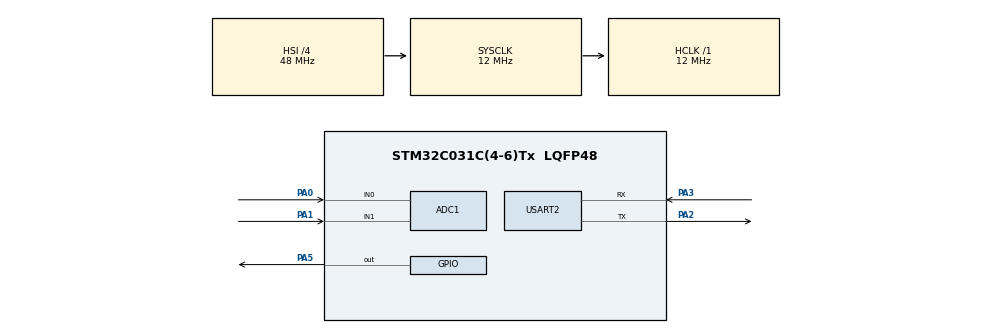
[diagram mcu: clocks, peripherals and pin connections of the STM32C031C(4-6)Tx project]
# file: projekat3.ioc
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ADC1.NbrOfConversionFlag=0
ADC1.SelectedChannel=ADC_CHANNEL_0|ADC_CHANNEL_1
ADC1.master=1
Mcu.Family=STM32C0
Mcu.Name=STM32C031C(4-6)Tx
Mcu.Package=LQFP48
PA0.Mode=IN0
PA0.Signal=ADC1_IN0
PA1.Mode=IN1
PA1.Signal=ADC1_IN1
PA13.Mode=Serial_Wire
PA13.Signal=DEBUG_SWDIO
PA14-BOOT0.Mode=Serial_Wire
PA14-BOOT0.Signal=DEBUG_SWCLK
PA2.Mode=Asynchronous
PA2.Signal=USART2_TX
PA3.Mode=Asynchronous
PA3.Signal=USART2_RX
PA5.Signal=GPIO_Output
ProjectManager.HeapSize=0x200
ProjectManager.StackSize=0x400
ProjectManager.TargetToolchain=STM32CubeIDE
RCC.ADCFreq_Value=12000000
RCC.AHBFreq_Value=12000000
RCC.CortexFreq_Value=12000000
RCC.EXTERNAL_CLOCK_VALUE=12288000
RCC.HCLKFreq_Value=12000000
RCC.HSE_VALUE=8000000
RCC.HSI_VALUE=48000000
RCC.LSE_VALUE=32768
RCC.SYSCLKFreq_VALUE=12000000
USART2.VirtualMode-Asynchronous=VM_ASYNC
board=custom

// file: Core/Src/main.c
/* USER CODE BEGIN Header */
/**
  ******************************************************************************
  * @file           : main.c
  * @brief          : Main program body
  ******************************************************************************
  * @attention
  *
  * Copyright (c) 2025 STMicroelectronics.
  * All rights reserved.
  *
  * This software is licensed under terms that can be found in the LICENSE file
  * in the root directory of this software component.
  * If no LICENSE file comes with this software, it is provided AS-IS.
  *
  ******************************************************************************
  */
/* USER CODE END Header */
#include "main.h"
#include <stdio.h>// za sprintf
#include <stdlib.h>
/* USER CODE BEGIN Includes */
#include "string.h"
/* USER CODE END Includes */

ADC_HandleTypeDef hadc1;

UART_HandleTypeDef huart2;
uint32_t adcX, adcY;
char msg[100];
//broj ulaza
#define N 20

void SystemClock_Config(void);
static void MX_GPIO_Init(void);
static void MX_ADC1_Init(void);
static void MX_USART2_UART_Init(void);
float getVoltageFromRaw(uint32_t adcVal);

int main(void)
{

  /* MCU Configuration--------------------------------------------------------*/

  /* Reset of all peripherals, Initializes the Flash interface and the Systick. */
  HAL_Init();

  /* Configure the system clock */
  SystemClock_Config();

  /* Initialize all configured peripherals */
  MX_GPIO_Init();
  MX_ADC1_Init();
  MX_USART2_UART_Init();

  /* USER CODE BEGIN 2 */
  // Deo za pripremu podataka, citanje sa ulaza, racunanje delova formule suma

  uint32_t sumX = 0, sumY = 0, sumXY = 0, sumX2 = 0;
  uint32_t sumX2Y = 0, sumX3 = 0, sumX4 = 0;

  for (int i = 0; i < N; i++)
  {
	  // --- Čitanje X ---
	  HAL_ADC_ConfigChannel(&hadc1, &(ADC_ChannelConfTypeDef){
		  .Channel = ADC_CHANNEL_0, .Rank = 1, .SamplingTime = ADC_SAMPLETIME_12CYCLES_5});
	  HAL_ADC_Start(&hadc1);
	  HAL_ADC_PollForConversion(&hadc1, HAL_MAX_DELAY);
	  adcX = HAL_ADC_GetValue(&hadc1);

	  // --- Čitanje Y ---
	  HAL_ADC_ConfigChannel(&hadc1, &(ADC_ChannelConfTypeDef){
		  .Channel = ADC_CHANNEL_1, .Rank = 1, .SamplingTime = ADC_SAMPLETIME_12CYCLES_5});
	  HAL_ADC_Start(&hadc1);
	  HAL_ADC_PollForConversion(&hadc1, HAL_MAX_DELAY);
	  adcY = HAL_ADC_GetValue(&hadc1);

	  // --- Akumulacije ---
	  sumX  += adcX;
	  sumY  += adcY;
	  sumXY += (adcX * adcY);
	  sumX2 += (adcX * adcX);

	  sumX3 += adcX * adcX * adcX;
	  sumX4 += adcX * adcX * adcX * adcX;
	  sumX2Y += adcX * adcX * adcY;

	  HAL_Delay(100); // mali delay da smiri čitanje
  }

    // --- Izračunavanje koeficijenata ---

    // ----- Linearna regresija ----------
    float a_lin = ( (N * sumXY) - (sumX * sumY) ) / (float)( (N * sumX2) - (sumX * sumX) );
    float b_lin = ( (sumY - (a_lin * sumX)) / (float)N );

    // --- Slanje rezultata ---
    //sprintf(msg, "Linear regression: Y = %.3f * X + %.3f\r\n", a, b);

    int a_int = (int)(a_lin * 1000);  // 3 decimale
    int b_int = (int)(b_lin * 1000);  // 3 decimale

    sprintf(msg, "Linear regression: Y = %d.%03d * X + %d.%03d\r\n",
            a_int / 1000, a_int % 1000,
            b_int / 1000, b_int % 1000);

    HAL_UART_Transmit(&huart2, (uint8_t*)msg, strlen(msg), HAL_MAX_DELAY);

    // --- Kvadratna regresija (Cramer) ---
     float A[3][3] = {
         {N,    sumX,   sumX2},
         {sumX, sumX2,  sumX3},
         {sumX2,sumX3,  sumX4}
     };
     float B[3] = {sumY, sumXY, sumX2Y};

     float detA =
             A[0][0]*(A[1][1]*A[2][2]-A[1][2]*A[2][1])
           - A[0][1]*(A[1][0]*A[2][2]-A[1][2]*A[2][0])
           + A[0][2]*(A[1][0]*A[2][1]-A[1][1]*A[2][0]);

       float detC =
             B[0]*(A[1][1]*A[2][2]-A[1][2]*A[2][1])
           - A[0][1]*(B[1]*A[2][2]-A[1][2]*B[2])
           + A[0][2]*(B[1]*A[2][1]-A[1][1]*B[2]);

       float detB =
             A[0][0]*(B[1]*A[2][2]-A[1][2]*B[2])
           - B[0]*(A[1][0]*A[2][2]-A[1][2]*A[2][0])
           + A[0][2]*(A[1][0]*B[2]-B[1]*A[2][0]);

       float detA2 =
             A[0][0]*(A[1][1]*B[2]-B[1]*A[2][1])
           - A[0][1]*(A[1][0]*B[2]-B[1]*A[2][0])
           + B[0]*(A[1][0]*A[2][1]-A[1][1]*A[2][0]);

       float c_quad = detC / detA;
       float b_quad = detB / detA;
       float a_quad = detA2 / detA;

       // Slanje rezultata, sada za polinomnu
       int aQ=(int)(a_quad*1000);
       int bQ=(int)(b_quad*1000);
       int cQ=(int)(c_quad*1000);

       sprintf(msg, "Quadratic: Y = %d.%03d*X^2 + %d.%03d*X + %d.%03d\r\n",
                 aQ/1000,
				 abs(aQ%1000),
				 bQ/1000,
				 abs(bQ%1000),
				 cQ/1000,
				 abs(cQ%1000));
       HAL_UART_Transmit(&huart2, (uint8_t*)msg, strlen(msg), HAL_MAX_DELAY);

    /* USER CODE END 2 */

  /* Infinite loop */
  /* USER CODE BEGIN WHILE */
  while (1)
  {

	  /*HAL_GPIO_TogglePin(GPIOA, GPIO_PIN_5); // LED ON/OFF
	  HAL_Delay(3000); // 500ms
	  char msg[] = "Hello from STM32  Marija Stefan Andjelina\r\n";
	     HAL_UART_Transmit(&huart2, (uint8_t*)msg, strlen(msg), HAL_MAX_DELAY);
	     HAL_Delay(1000);*/
    /* USER CODE END WHILE */

    /* USER CODE BEGIN 3 */

	  // --- Čitanje X (PA0 / ADC1_IN0) ---
	     /* HAL_ADC_ConfigChannel(&hadc1, &(ADC_ChannelConfTypeDef){
	          .Channel = ADC_CHANNEL_0,
	          .Rank = 1,
	          .SamplingTime = ADC_SAMPLETIME_12CYCLES_5
	      });
	      HAL_ADC_Start(&hadc1);
	      HAL_ADC_PollForConversion(&hadc1, HAL_MAX_DELAY);
	      adcX = HAL_ADC_GetValue(&hadc1);

	      // --- Čitanje Y (PA1 / ADC1_IN1) ---
	      HAL_ADC_ConfigChannel(&hadc1, &(ADC_ChannelConfTypeDef){
	          .Channel = ADC_CHANNEL_1,
	          .Rank = 1,
	          .SamplingTime = ADC_SAMPLETIME_12CYCLES_5
	      });
	      HAL_ADC_Start(&hadc1);
	      HAL_ADC_PollForConversion(&hadc1, HAL_MAX_DELAY);
	      adcY = HAL_ADC_GetValue(&hadc1);

	      // --- Slanje preko USART2 ---
	      sprintf(msg, "X=%d, Y=%d\r\n", adcX, adcY);
	      HAL_UART_Transmit(&huart2, (uint8_t*)msg, strlen(msg), HAL_MAX_DELAY);

	      HAL_Delay(3000); // ~5 puta u sekundi*/

	  ////////////////////////////////////////////////////////////////////////////////////////////////
	  //glavni deo predvidjanje i ispis
	  HAL_ADC_ConfigChannel(&hadc1, &(ADC_ChannelConfTypeDef){
	          .Channel = ADC_CHANNEL_0, .Rank = 1, .SamplingTime = ADC_SAMPLETIME_12CYCLES_5});
	  HAL_ADC_Start(&hadc1);
	  HAL_ADC_PollForConversion(&hadc1, HAL_MAX_DELAY);
	  adcX = HAL_ADC_GetValue(&hadc1);

	  HAL_ADC_ConfigChannel(&hadc1, &(ADC_ChannelConfTypeDef){
	          .Channel = ADC_CHANNEL_1, .Rank = 1, .SamplingTime = ADC_SAMPLETIME_12CYCLES_5});
	  HAL_ADC_Start(&hadc1);
	  HAL_ADC_PollForConversion(&hadc1, HAL_MAX_DELAY);
	  adcY = HAL_ADC_GetValue(&hadc1);

	  // Predikcije
	  float y_lin = a_lin*adcX + b_lin;
	  float y_quad = a_quad*adcX*adcX + b_quad*adcX + c_quad;
	  //    float y_pred = a * adcX + b;
	     // sprintf(msg, "X=%d -> Y_pred=%.2f\r\n", adcX, y_pred);
	  int yL_int = (int)(y_lin * 100); // skalirano na 2 decimale
	  int yQ_int = (int)(y_quad * 100);
/*
	      float voltageX = (adcX / 4095.0) * 3.3;  // ako je Vref = 3.3V
	      float voltageY = (adcY / 4095.0) * 3.3;
	      float voltageY_predicted = (y_int/4095.0)*3.3;
*/
	  float vX = getVoltageFromRaw(adcX);
	  float vY = getVoltageFromRaw(adcY);
	  float vLin = getVoltageFromRaw((uint32_t)yL_int);
	  float vQuad = getVoltageFromRaw((uint32_t)yQ_int);

	  sprintf(msg, "X=%d.%02d V, Y=%d.%02d V, Lin=%d.%02d, Quad=%d.%02d\r\n",
	          (int)vX, (int)((vX - (int)vX)*100),
	          (int)vY, (int)((vY - (int)vY)*100),
	          (int)vLin/100, (int)((vLin - (int)vLin)*100),
	          (int)vQuad/100, (int)((vQuad - (int)vQuad)*100));
/*
	      sprintf(msg, "X=%d, Y_real=%d, Y_lin_pred=%d.%02d, Y_quad=%d.%02d\r\n",
	    		  adcX,
				  adcY,                // realna vrednost sa ADC
				  yL_int/100, abs(yL_int%100),         // ceo deo
				  yQ_int/100, abs(yQ_int%100));        // decimalni deo
*/
	      HAL_UART_Transmit(&huart2, (uint8_t*)msg, strlen(msg), HAL_MAX_DELAY);

	      //staro ispod
	     /* int y_int = (int)(y_pred * 100); // skalirano na 2 decimale

	      sprintf(msg, "X=%d -> Y_pred=%d.%02d\r\n",
	              adcX,
	              y_int / 100,   // ceo deo
	              y_int % 100);  // decimalni deo
	      HAL_UART_Transmit(&huart2, (uint8_t*)msg, strlen(msg), HAL_MAX_DELAY);*/

	      HAL_Delay(500);
	  }
  /* USER CODE END 3 */
}

void SystemClock_Config(void)
{
  RCC_OscInitTypeDef RCC_OscInitStruct = {0};
  RCC_ClkInitTypeDef RCC_ClkInitStruct = {0};

  __HAL_FLASH_SET_LATENCY(FLASH_LATENCY_0);

  /** Initializes the RCC Oscillators according to the specified parameters
  * in the RCC_OscInitTypeDef structure.
  */
  RCC_OscInitStruct.OscillatorType = RCC_OSCILLATORTYPE_HSI;
  RCC_OscInitStruct.HSIState = RCC_HSI_ON;
  RCC_OscInitStruct.HSIDiv = RCC_HSI_DIV4;
  RCC_OscInitStruct.HSICalibrationValue = RCC_HSICALIBRATION_DEFAULT;
  if (HAL_RCC_OscConfig(&RCC_OscInitStruct) != HAL_OK)
  {
    Error_Handler();
  }

  /** Initializes the CPU, AHB and APB buses clocks
  */
  RCC_ClkInitStruct.ClockType = RCC_CLOCKTYPE_HCLK|RCC_CLOCKTYPE_SYSCLK
                              |RCC_CLOCKTYPE_PCLK1;
  RCC_ClkInitStruct.SYSCLKSource = RCC_SYSCLKSOURCE_HSI;
  RCC_ClkInitStruct.SYSCLKDivider = RCC_SYSCLK_DIV1;
  RCC_ClkInitStruct.AHBCLKDivider = RCC_HCLK_DIV1;
  RCC_ClkInitStruct.APB1CLKDivider = RCC_APB1_DIV1;

  if (HAL_RCC_ClockConfig(&RCC_ClkInitStruct, FLASH_LATENCY_0) != HAL_OK)
  {
    Error_Handler();
  }
}

static void MX_ADC1_Init(void)
{

  ADC_ChannelConfTypeDef sConfig = {0};

  /** Configure the global features of the ADC (Clock, Resolution, Data Alignment and number of conversion)
  */
  hadc1.Instance = ADC1;
  hadc1.Init.ClockPrescaler = ADC_CLOCK_SYNC_PCLK_DIV1;
  hadc1.Init.Resolution = ADC_RESOLUTION_12B;
  hadc1.Init.DataAlign = ADC_DATAALIGN_RIGHT;
  hadc1.Init.ScanConvMode = ADC_SCAN_SEQ_FIXED;
  hadc1.Init.EOCSelection = ADC_EOC_SINGLE_CONV;
  hadc1.Init.LowPowerAutoWait = DISABLE;
  hadc1.Init.LowPowerAutoPowerOff = DISABLE;
  hadc1.Init.ContinuousConvMode = DISABLE;
  hadc1.Init.NbrOfConversion = 1;
  hadc1.Init.DiscontinuousConvMode = DISABLE;
  hadc1.Init.ExternalTrigConv = ADC_SOFTWARE_START;
  hadc1.Init.ExternalTrigConvEdge = ADC_EXTERNALTRIGCONVEDGE_NONE;
  hadc1.Init.DMAContinuousRequests = DISABLE;
  hadc1.Init.Overrun = ADC_OVR_DATA_PRESERVED;
  hadc1.Init.SamplingTimeCommon1 = ADC_SAMPLETIME_1CYCLE_5;
  hadc1.Init.OversamplingMode = DISABLE;
  hadc1.Init.TriggerFrequencyMode = ADC_TRIGGER_FREQ_HIGH;
  if (HAL_ADC_Init(&hadc1) != HAL_OK)
  {
    Error_Handler();
  }

  /** Configure Regular Channel
  */
  sConfig.Channel = ADC_CHANNEL_0;
  sConfig.Rank = ADC_RANK_CHANNEL_NUMBER;
  if (HAL_ADC_ConfigChannel(&hadc1, &sConfig) != HAL_OK)
  {
    Error_Handler();
  }

  /** Configure Regular Channel
  */
  sConfig.Channel = ADC_CHANNEL_1;
  if (HAL_ADC_ConfigChannel(&hadc1, &sConfig) != HAL_OK)
  {
    Error_Handler();
  }

}

static void MX_USART2_UART_Init(void)
{

  huart2.Instance = USART2;
  huart2.Init.BaudRate = 115200;
  huart2.Init.WordLength = UART_WORDLENGTH_8B;
  huart2.Init.StopBits = UART_STOPBITS_1;
  huart2.Init.Parity = UART_PARITY_NONE;
  huart2.Init.Mode = UART_MODE_TX_RX;
  huart2.Init.HwFlowCtl = UART_HWCONTROL_NONE;
  huart2.Init.OverSampling = UART_OVERSAMPLING_16;
  huart2.Init.OneBitSampling = UART_ONE_BIT_SAMPLE_DISABLE;
  huart2.Init.ClockPrescaler = UART_PRESCALER_DIV1;
  huart2.AdvancedInit.AdvFeatureInit = UART_ADVFEATURE_NO_INIT;
  if (HAL_UART_Init(&huart2) != HAL_OK)
  {
    Error_Handler();
  }

}

static void MX_GPIO_Init(void)
{
  GPIO_InitTypeDef GPIO_InitStruct = {0};

  /* GPIO Ports Clock Enable */
  __HAL_RCC_GPIOA_CLK_ENABLE();

  /*Configure GPIO pin Output Level */
  HAL_GPIO_WritePin(GPIOA, GPIO_PIN_5, GPIO_PIN_RESET);

  /*Configure GPIO pin : PA5 */
  GPIO_InitStruct.Pin = GPIO_PIN_5;
  GPIO_InitStruct.Mode = GPIO_MODE_OUTPUT_PP;
  GPIO_InitStruct.Pull = GPIO_NOPULL;
  GPIO_InitStruct.Speed = GPIO_SPEED_FREQ_LOW;
  HAL_GPIO_Init(GPIOA, &GPIO_InitStruct);

}

/* USER CODE BEGIN 4 */
float getVoltageFromRaw(uint32_t adcVal) {
	return (adcVal / 4095.0) *3.3;
}
/* USER CODE END 4 */

void Error_Handler(void)
{
  __disable_irq();
  while (1)
  {
  }
}
